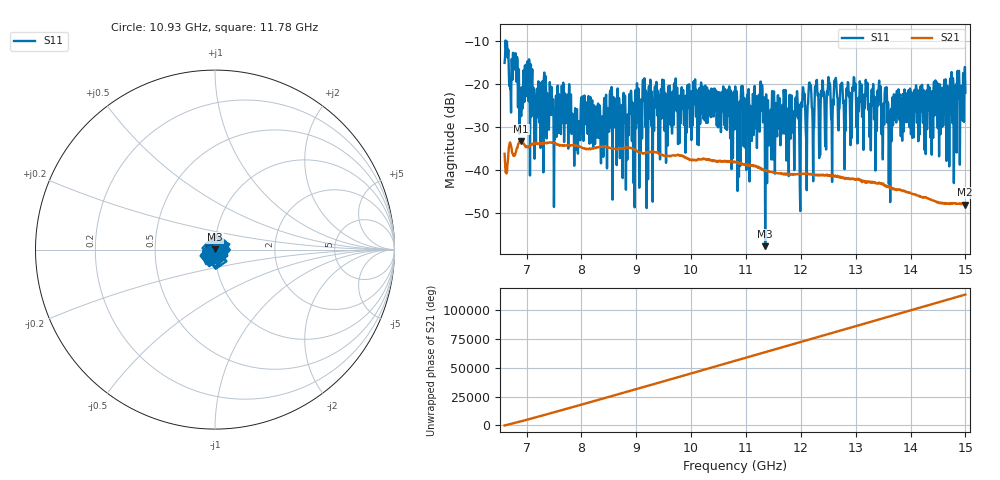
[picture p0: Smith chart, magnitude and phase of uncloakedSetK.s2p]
!Keysight Technologies,N5235B,MY61252044,A.15.00.15
!Date: Friday, January 20, 2023 22:45:03
!Correction: S11(Off)
!S21(Off)
!S12(Off)
!S22(Off)
!S2P File: Measurements: S11, S21, S12, S22:
# Hz S  RI  R 50
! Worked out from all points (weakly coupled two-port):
!   1000 points, 6.6 GHz to 15 GHz, reference 50 ohm
!   highest |S21| = -33.21 dB at 6.903 GHz (marker M1); lowest = -47.9 dB at 14.99 GHz (marker M2)
!   lowest |S11| = -57.6 dB at 11.35 GHz (marker M3), VSWR 1.00, Z = 50 + j0.131 ohm
!   |S11| at or under -10 dB: start of sweep to 6.616604 GHz; 6.617 GHz to end of sweep
!   S12 and S22 are empty: the file has one direction only
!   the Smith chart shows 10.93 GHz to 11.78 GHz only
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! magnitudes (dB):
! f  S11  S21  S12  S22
! 6.6 GHz  -15.1  -36.2  -  -
! 6.701 GHz  -21.2  -33.6  -  -
! 6.793 GHz  -16.6  -36.3  -  -
! 6.903 GHz  -27.5  -33.2  -  -
! 7.012 GHz  -21.9  -34.6  -  -
! 7.155 GHz  -25.7  -33.8  -  -
! 8.004 GHz  -28.4  -34.7  -  -
! 8.357 GHz  -38.4  -34.6  -  -
! 9.4 GHz  -23.1  -36.1  -  -
! 10.8 GHz  -20.6  -38.2  -  -
! 11.3 GHz  -21.2  -39.9  -  -
! 11.35 GHz  -57.6  -39.9  -  -
! 11.93 GHz  -21.7  -40.9  -  -
! 11.98 GHz  -43.2  -40.8  -  -
! 12.17 GHz  -20.5  -40.9  -  -
! 12.2 GHz  -25.5  -40.9  -  -
! 12.97 GHz  -18.6  -42.0  -  -
! 13.55 GHz  -24.2  -43.8  -  -
! 13.6 GHz  -43.1  -43.9  -  -
! 13.74 GHz  -28.9  -44.5  -  -
! 14.99 GHz  -16.0  -47.9  -  -
! 15 GHz  -22.0  -47.8  -  -
